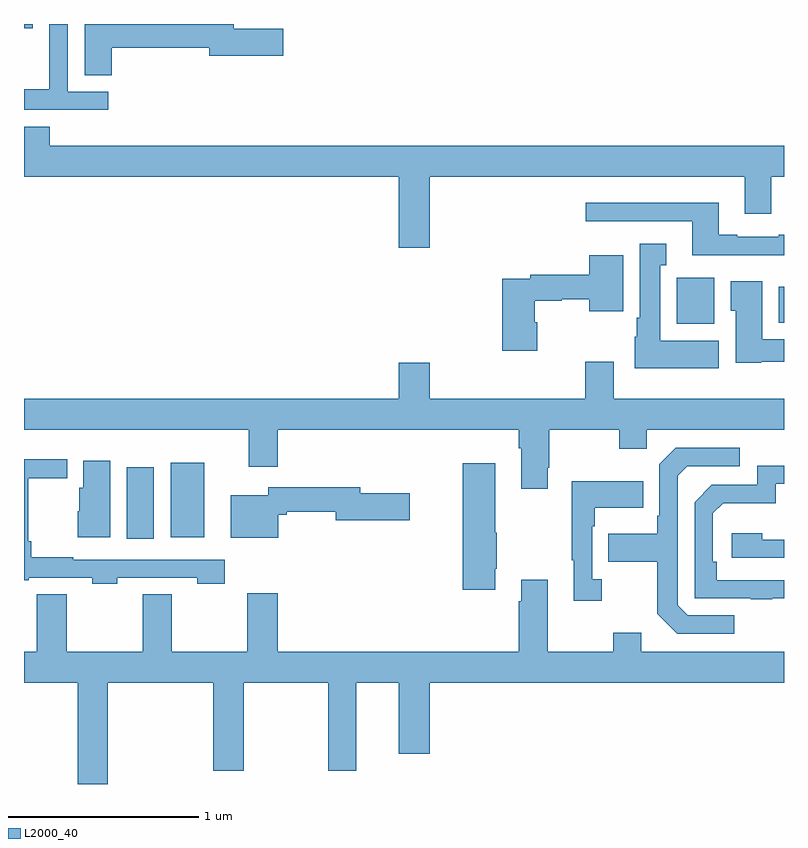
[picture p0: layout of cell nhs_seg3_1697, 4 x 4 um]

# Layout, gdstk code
import gdstk
lib = gdstk.Library(unit=1e-6, precision=1e-09)
def R(c, l, rs):  # rectangles x0, y0, x1, y1
    for r in rs: c.add(gdstk.rectangle(r[:2], r[2:], *l))
def P(c, l, *ps):  # polygons
    for p in ps: c.add(gdstk.Polygon(p, *l))
L2000_40 = (2000, 40)

nhs_seg3_1697 = lib.new_cell('nhs_seg3_1697')
R(nhs_seg3_1697, L2000_40, [(199.541,685.692,199.684,686.068), (199.772,685.7,199.948,686.092), (202.436,686.822,202.633,687.064), (202.973,686.828,203,687.016), (199,688.377,199.045,688.4)])
P(nhs_seg3_1697, L2000_40, [(199.463,688.276),(199.976,688.276),(199.976,688.234),(200.365,688.234),(200.365,688.376),(200.104,688.376),(200.104,688.4),(199.319,688.4),(199.319,688.129),(199.463,688.129)],
  [(199.444,688.044),(199.23,688.044),(199.23,688.4),(199.134,688.4),(199.134,688.28),(199.132,688.28),(199.132,688.057),(199,688.057),(199,687.948),(199.444,687.948)],
  [(199,687.859),(199,687.596),(200.972,687.596),(200.972,687.222),(201.136,687.222),(201.136,687.596),(202.793,687.596),(202.793,687.402),(202.933,687.402),(202.933,687.596),(203,687.596),(203,687.76),(199.136,687.76),(199.136,687.859)],
  [(203,687.292),(202.973,687.292),(202.973,687.279),(202.753,687.279),(202.753,687.292),(202.657,687.292),(202.657,687.46),(201.957,687.46),(201.957,687.363),(202.517,687.363),(202.517,687.182),(203,687.182)],
  [(202.657,686.734),(202.348,686.734),(202.348,687.131),(202.381,687.131),(202.381,687.244),(202.241,687.244),(202.241,686.854),(202.226,686.854),(202.226,686.754),(202.214,686.754),(202.214,686.588),(202.657,686.588)],
  [(201.701,686.829),(201.688,686.829),(201.688,686.944),(201.831,686.944),(201.831,686.952),(201.974,686.952),(201.974,686.888),(202.153,686.888),(202.153,687.184),(201.974,687.184),(201.974,687.08),(201.664,687.08),(201.664,687.06),(201.518,687.06),(201.518,686.679),(201.701,686.679)],
  [(202.881,686.622),(203,686.622),(203,686.74),(202.885,686.74),(202.885,687.046),(202.721,687.046),(202.721,686.892),(202.745,686.892),(202.745,686.618),(202.881,686.618)],
  [(201.757,686.065),(201.765,686.065),(201.765,686.264),(202.132,686.264),(202.132,686.165),(202.278,686.165),(202.278,686.264),(203,686.264),(203,686.428),(202.105,686.428),(202.105,686.623),(201.953,686.623),(201.953,686.428),(201.136,686.428),(201.136,686.617),(200.972,686.617),(200.972,686.428),(199,686.428),(199,686.264),(200.183,686.264),(200.183,686.07),(200.336,686.07),(200.336,686.264),(201.605,686.264),(201.605,686.168),(201.617,686.168),(201.617,685.953),(201.757,685.953)],
  [(202.738,685.287),(202.494,685.287),(202.44,685.341),(202.44,686.022),(202.491,686.073),(202.768,686.073),(202.768,686.169),(202.431,686.169),(202.344,686.082),(202.344,685.813),(202.332,685.813),(202.332,685.717),(202.075,685.717),(202.075,685.57),(202.332,685.57),(202.332,685.297),(202.437,685.191),(202.738,685.191)],
  [(199.491,685.485),(199.911,685.485),(199.911,685.453),(200.056,685.453),(200.056,685.581),(199.259,685.581),(199.259,685.594),(199.037,685.594),(199.037,685.678),(199.022,685.678),(199.022,686.008),(199.228,686.008),(199.228,686.11),(199,686.11),(199,685.473),(199.024,685.473),(199.024,685.485),(199.359,685.485),(199.359,685.453),(199.491,685.453)],
  [(199.453,686.101),(199.313,686.101),(199.313,685.959),(199.292,685.959),(199.292,685.836),(199.283,685.836),(199.283,685.7),(199.453,685.7)],
  [(201.481,685.534),(201.489,685.534),(201.489,685.723),(201.481,685.723),(201.481,686.089),(201.308,686.089),(201.308,685.422),(201.481,685.422)],
  [(202.937,685.377),(203,685.377),(203,685.473),(202.646,685.473),(202.646,685.57),(202.626,685.57),(202.626,685.824),(202.679,685.877),(202.956,685.877),(202.956,685.98),(203,685.98),(203,686.076),(202.86,686.076),(202.86,685.974),(202.62,685.974),(202.53,685.884),(202.53,685.377),(202.825,685.377),(202.825,685.372),(202.937,685.372)],
  [(202.042,685.478),(201.99,685.478),(201.99,685.757),(202.003,685.757),(202.003,685.853),(202.259,685.853),(202.259,685.993),(201.882,685.993),(201.882,685.577),(201.893,685.577),(201.893,685.365),(202.042,685.365)],
  [(200.338,685.817),(200.383,685.817),(200.383,685.834),(200.642,685.834),(200.642,685.787),(201.031,685.787),(201.031,685.929),(200.77,685.929),(200.77,685.963),(200.285,685.963),(200.285,685.92),(200.087,685.92),(200.087,685.697),(200.338,685.697)],
  [(203,685.686),(202.886,685.686),(202.886,685.72),(202.725,685.72),(202.725,685.59),(203,685.59)],
  [(200.602,684.471),(200.749,684.471),(200.749,684.932),(200.972,684.932),(200.972,684.558),(201.136,684.558),(201.136,684.932),(203,684.932),(203,685.096),(202.249,685.096),(202.249,685.195),(202.102,685.195),(202.102,685.096),(201.757,685.096),(201.757,685.474),(201.617,685.474),(201.617,685.361),(201.605,685.361),(201.605,685.096),(200.336,685.096),(200.336,685.405),(200.176,685.405),(200.176,685.096),(199.778,685.096),(199.778,685.4),(199.624,685.4),(199.624,685.096),(199.226,685.096),(199.226,685.4),(199.067,685.4),(199.067,685.096),(199,685.096),(199,684.932),(199.282,684.932),(199.282,684.4),(199.442,684.4),(199.442,684.932),(199.997,684.932),(199.997,684.471),(200.157,684.471),(200.157,684.932),(200.602,684.932)])

lib.write_gds('nhs_seg3_1697.gds')
